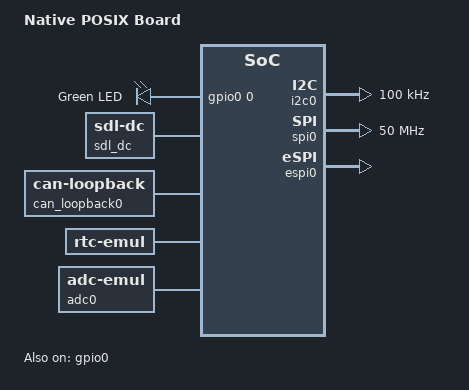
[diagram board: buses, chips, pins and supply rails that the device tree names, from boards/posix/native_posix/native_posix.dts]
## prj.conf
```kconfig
CONFIG_GPIO=y
CONFIG_JSON_LIBRARY=y
CONFIG_ENTROPY_GENERATOR=y
CONFIG_STM32_BACKUP_SRAM=y
```

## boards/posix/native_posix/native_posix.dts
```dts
/*
 * Copyright (c) 2019 Jan Van Winkel (jan.van_winkel@dxplore.eu)
 *
 * SPDX-License-Identifier: Apache-2.0
 */

/dts-v1/;
#include <posix/posix.dtsi>
#include <zephyr/dt-bindings/adc/adc.h>
#include <zephyr/dt-bindings/i2c/i2c.h>
#include <zephyr/dt-bindings/gpio/gpio.h>

/ {
	model = "Native POSIX Board";
	compatible = "zephyr,posix";

	chosen {
		zephyr,console = &uart0;
		zephyr,shell-uart = &uart0;
		zephyr,uart-mcumgr = &uart0;
		zephyr,flash = &flash0;
		zephyr,entropy = &rng;
		zephyr,flash-controller = &flashcontroller0;
		zephyr,display = &sdl_dc;
		zephyr,canbus = &can_loopback0;
	};

	aliases {
		eeprom-0 = &eeprom0;
		i2c-0 = &i2c0;
		spi-0 = &spi0;
		led0 = &led0;
		rtc = &rtc;
		uart1 = &uart0;
	};

	leds {
		compatible = "gpio-leds";
		led0: led_0 {
			gpios = <&gpio0 0 GPIO_ACTIVE_HIGH>;
			label = "Green LED";
		};
	};

	lvgl_pointer {
		compatible = "zephyr,lvgl-pointer-input";
		input = <&input_sdl_touch>;
	};

	cpus {
		#address-cells = <1>;
		#size-cells = <0>;

		cpu0: cpu@0 {
			compatible = "zephyr,native-posix-cpu";
			reg = <0>;
		};
	};

	flashcontroller0: flash-controller@0 {
		compatible = "zephyr,sim-flash";
		reg = <0x00000000 DT_SIZE_K(2048)>;

		#address-cells = <1>;
		#size-cells = <1>;
		erase-value = <0xff>;

		flash0: flash@0 {
			status = "okay";
			compatible = "soc-nv-flash";
			erase-block-size = <4096>;
			write-block-size = <1>;
			reg = <0x00000000 DT_SIZE_K(2048)>;

			partitions {
				compatible = "fixed-partitions";
				#address-cells = <1>;
				#size-cells = <1>;

				boot_partition: partition@0 {
					label = "mcuboot";
					reg = <0x00000000 0x0000C000>;
				};
				slot0_partition: partition@c000 {
					label = "image-0";
					reg = <0x0000C000 0x00069000>;
				};
				slot1_partition: partition@75000 {
					label = "image-1";
					reg = <0x00075000 0x00069000>;
				};
				scratch_partition: partition@de000 {
					label = "image-scratch";
					reg = <0x000de000 0x0001e000>;
				};
				storage_partition: partition@fc000 {
					label = "storage";
					reg = <0x000fc000 0x00004000>;
				};
			};
		};
	};

	eeprom0: eeprom {
		status = "okay";
		compatible = "zephyr,sim-eeprom";
		size = <DT_SIZE_K(32)>;
	};

	i2c0: i2c@100 {
		status = "okay";
		compatible = "zephyr,i2c-emul-controller";
		clock-frequency = <I2C_BITRATE_STANDARD>;
		#address-cells = <1>;
		#size-cells = <0>;
		reg = <0x100 4>;
	};

	spi0: spi@200 {
		status = "okay";
		compatible = "zephyr,spi-emul-controller";
		clock-frequency = <50000000>;
		#address-cells = <1>;
		#size-cells = <0>;
		reg = <0x200 4>;
	};

	espi0: espi@300 {
		status = "okay";
		compatible = "zephyr,espi-emul-controller";
		reg = <0x300 4>;
		#address-cells = <1>;
		#size-cells = <0>;
	};

	uart0: uart {
		status = "okay";
		compatible = "zephyr,native-posix-uart";
		/* Dummy current-speed entry to comply with serial
		 * DTS binding
		 */
		current-speed = <0>;
	};

	uart1: uart_1 {
		status = "okay";
		compatible = "zephyr,native-posix-uart";
		/* Dummy current-speed entry to comply with serial
		 * DTS binding
		 */
		current-speed = <0>;
	};

	rng: rng {
		status = "okay";
		compatible = "zephyr,native-posix-rng";
	};

	counter0: counter {
		status = "okay";
		compatible = "zephyr,native-posix-counter";
	};

	gpio0: gpio@800 {
		status = "okay";
		compatible = "zephyr,gpio-emul";
		reg = <0x800 0x4>;
		rising-edge;
		falling-edge;
		high-level;
		low-level;
		gpio-controller;
		#gpio-cells = <2>;
	};

	zephyr_udc0: udc0 {
		compatible = "zephyr,native-posix-udc";
	};

	sdl_dc: sdl_dc {
		compatible = "zephyr,sdl-dc";
		height = <240>;
		width = <320>;
	};

	input_sdl_touch: input-sdl-touch {
		compatible = "zephyr,input-sdl-touch";
	};

	can_loopback0: can_loopback0 {
		status = "okay";
		compatible = "zephyr,can-loopback";
		sample-point = <875>;
		bus-speed = <125000>;
	};

	can0: can {
		status = "disabled";
		compatible = "zephyr,native-posix-linux-can";
		/* adjust zcan0 to desired host interface or create an alternative
		 * name, e.g.: sudo ip link property add dev vcan0 altname zcan0
		 */
		host-interface = "zcan0";
		sample-point = <875>;
		bus-speed = <125000>;
	};

	rtc: rtc {
		status = "okay";
		compatible = "zephyr,rtc-emul";
		alarms-count = <2>;
	};

	adc0: adc {
		compatible = "zephyr,adc-emul";
		nchannels = <2>;
		#io-channel-cells = <1>;
		status = "okay";
	};

	
};
```

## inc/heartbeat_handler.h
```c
#ifndef HEARTBEAT_HANDLER_H
#define HEARTBEAT_HANDLER_H
#include <zephyr/kernel.h>
#include <zephyr/sys/printk.h>
#include <zephyr/data/json.h>
#include "gsm_driver.h"
#include "node.h"
#define HEARTBEAT_INTERVAL K_SECONDS(10) // Interval for sending heartbeat signal
#define LOW_SIGNAL_THRESHOLD 10 // Threshold for signal strength 10 = -93 dBm
#define NOT_KNOWN 99 // Value for unknown signal strength
/**
* @brief Handler for the heartbeat timer.
* 
* This function is called when the heartbeat timer expires. It sends a heartbeat
* signal to the server.
*
* @param timer Pointer to the timer structure.
*/
void heartbeat_handler(struct k_timer *timer);

/**
*   @brief Starts the heartbeat timer.
* 
*   This function starts the heartbeat timer with the interval defined by HEARTBEAT_INTERVAL.
*   The timer is started in one-shot mode.
*/
void start_heartbeat(struct node *node);

/**
*  @brief Sends a heartbeat signal to the server.
*   
*  This function sends a heartbeat signal to the server. If the signal strength is below
*  LOW_SIGNAL_THRESHOLD, the signal is sent over LoRa. Otherwise, the signal is sent over
*  MQTT.
*/
int send_heartbeat(struct node *node);

char* create_heartbeat_json(struct node *node);
#endif
```

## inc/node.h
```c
#ifndef NODE_H
#define NODE_H

#include <zephyr/sys/printk.h>

#include <string.h>
#include <stdio.h>
#define UUID_STR_LEN 37
struct custom_uuid {
    uint8_t uuid[16];
    char* str;
};
struct node {
    struct custom_uuid id;
    bool status;
};
void generate_id(struct custom_uuid *uuid);
void uuid_to_str(const struct custom_uuid *uuid, char *str, size_t len);
bool is_valid_hex_char(char c);
bool is_valid_uuid_v6(const char *uuid);

#endif
```

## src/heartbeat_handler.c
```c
#include "heartbeat_handler.h"
static struct node *global_node;
K_TIMER_DEFINE(heartbeat_timer, heartbeat_handler, NULL);

void heartbeat_handler(struct k_timer *timer)
{
    // printk("Heartbeat\n");
    send_heartbeat(global_node);
}

void start_heartbeat(struct node *node)
{
    global_node = node;
    k_timer_start(&heartbeat_timer, HEARTBEAT_INTERVAL, HEARTBEAT_INTERVAL);
}

int send_heartbeat(struct node *node)
{
    printk("Sending heartbeat\n");
    int signal_strength = get_signal_strength();
    char *json_string = create_heartbeat_json(node);
    printk("data: %s\n", json_string);
    if (signal_strength < LOW_SIGNAL_THRESHOLD || signal_strength == NOT_KNOWN)
    {
        printk("Sending over LoRa\n");
        return 0;
    }
    else
    {

        printk("Sending Data to the Server\n");
        return 1;
    }
}

char *create_heartbeat_json(struct node *node)
{
    // Define and initialize the heartbeat object

    static const struct json_obj_descr node_descr[] = {
        JSON_OBJ_DESCR_PRIM(struct node, status, JSON_TOK_TRUE),
        JSON_OBJ_DESCR_PRIM_NAMED(struct node, "id", id.str, JSON_TOK_STRING),
    };
    // Buffer to hold the JSON string
    static char json_string[128]; // Ensure the buffer is large enough
    int ret;

    // Encode the JSON object
    ret = json_obj_encode_buf(node_descr, ARRAY_SIZE(node_descr), node, json_string, sizeof(json_string));
    if (ret < 0)
    {
        printk("Error encoding JSON: %d\n", ret);
        return NULL;
    }

    return json_string;
}
```

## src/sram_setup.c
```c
#include "sram_setup.h"

__stm32_backup_sram_section uint8_t backup_value[16];

int sram_store(const struct custom_uuid *uuid){
    const struct device *const dev = DEVICE_DT_GET_ONE(BACKUP_DEV_COMPAT);
    	if (!device_is_ready(dev)) {
		printk("ERROR: BackUp SRAM device is not ready\n");
		return -1;
	}

    //put the uuid in the backup sram
    memcpy(backup_value, uuid->uuid, sizeof(uuid->uuid));


    printk("Storing value in backup SRAM (%p): %d\n", &backup_value, backup_value);
    #if __DCACHE_PRESENT
    SCB_CleanDCache_by_Addr(&backup_value, sizeof(backup_value));
    #endif
    	printk("Next reported value should be: %s\n", backup_value);
	printk("Keep VBAT power source and reset the board now!\n");
    return 0;

}


int sram_load(struct custom_uuid *uuid) {
    const struct device *const dev = DEVICE_DT_GET_ONE(BACKUP_DEV_COMPAT);
    if (!device_is_ready(dev)) {
        printk("ERROR: BackUp SRAM device is not ready\n");
        return -1;
    }
    printk("Current value in backup SRAM (%p): %s\n", backup_value, backup_value);
    char uuid_str[UUID_STR_LEN];
    memcpy(uuid->uuid, backup_value, sizeof(backup_value));
    uuid_to_str(uuid, uuid_str, UUID_STR_LEN);
    uuid->str = uuid_str;
    printk("UUID: %s\n", uuid->str);
    if (!is_valid_uuid_v6(uuid->str)) {
        printk("Invalid UUID in backup SRAM.\n");
        return -1;
    }
    printk("Valid UUID in backup SRAM.\n");
    printk("loading value %s into uuid\n", backup_value);


    #if __DCACHE_PRESENT
    SCB_CleanDCache_by_Addr(backup_value, UUID_STR_LEN);
    #endif

    printk("Reported value should be: %s\n", uuid->str);
    printk("Keep VBAT power source and reset the board now!\n");
    return 0;
}
```

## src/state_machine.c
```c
// #include "state_machine.hpp"

// /* State S0 */
// static void s0_entry(void *o)
// {
//         /* Do something */
// }
// static void s0_run(void *o)
// {
//         smf_set_state(SMF_CTX(&s_obj), &demo_states[S1]);
// }
// static void s0_exit(void *o)
// {
//         /* Do something */
// }

// /* State S1 */
// static void s1_run(void *o)
// {
//         smf_set_state(SMF_CTX(&s_obj), &demo_states[S2]);
// }
// static void s1_exit(void *o)
// {
//         /* Do something */
// }

// /* State S2 */
// static void s2_entry(void *o)
// {
//         /* Do something */
// }
// static void s2_run(void *o)
// {
//         smf_set_state(SMF_CTX(&s_obj), &demo_states[S0]);
// }

// /* Populate state table */
// static const struct smf_state demo_states[] = {
//         [S0] = SMF_CREATE_STATE(s0_entry, s0_run, s0_exit),
//         /* State S1 does not have an entry action */
//         [S1] = SMF_CREATE_STATE(NULL, s1_run, s1_exit),
//         /* State S2 does not have an exit action */
//         [S2] = SMF_CREATE_STATE(s2_entry, s2_run, NULL),
// };
```
